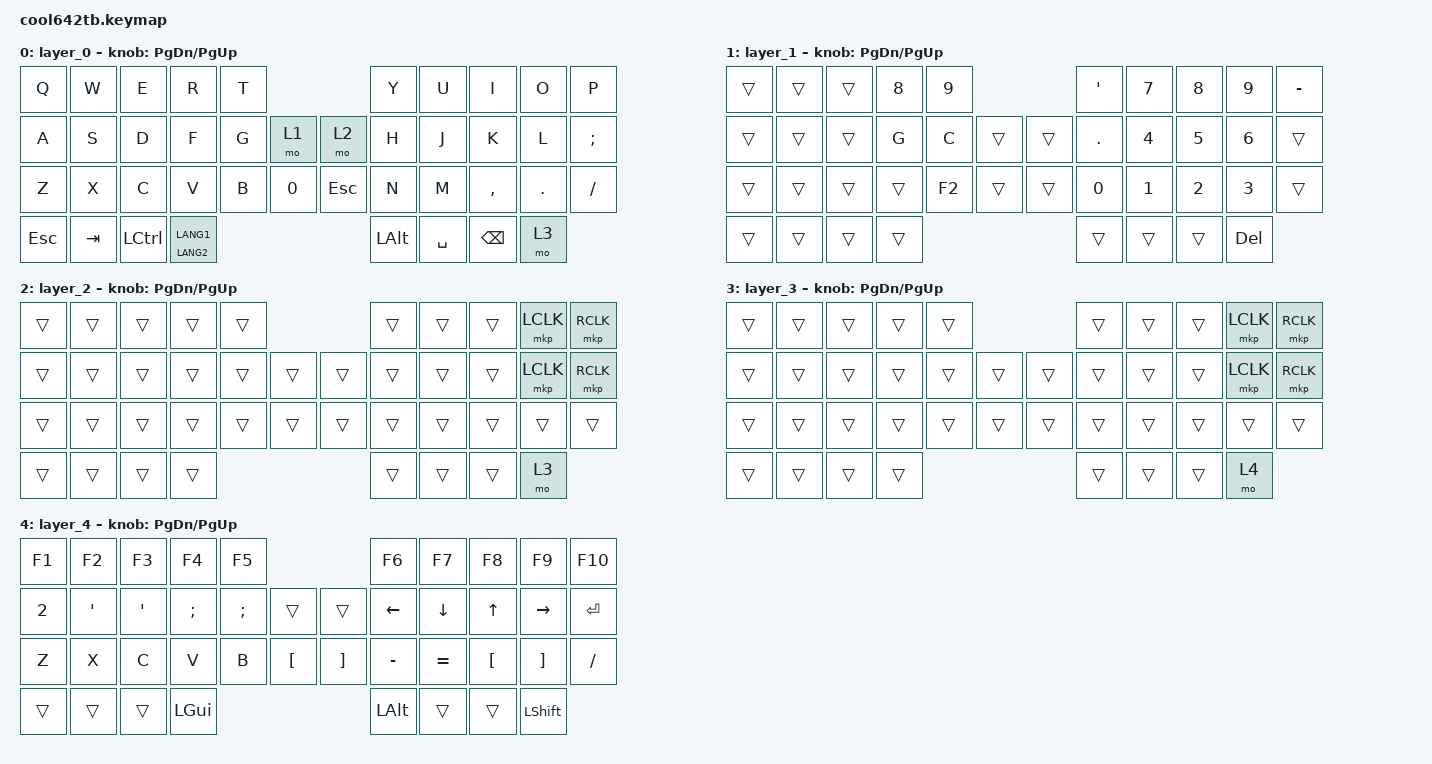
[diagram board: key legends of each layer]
#include <behaviors.dtsi>
#include <dt-bindings/zmk/bt.h>
#include <dt-bindings/zmk/keys.h>
#include <dt-bindings/zmk/pointing.h>

/ {
    keymap {
        compatible = "zmk,keymap";

        layer_0 {
            bindings = <
&kp Q       &kp W       &kp E             &kp R         &kp T                                                      &kp Y          &kp U  &kp I      &kp O       &kp P
&kp A       &kp S       &kp D             &kp F         &kp G         &mo 1                 &mo 2                  &kp H          &kp J  &kp K      &kp L       &kp SEMI
&kp Z       &kp X       &kp C             &kp V         &kp B         &kp N0                &kp ESCAPE             &kp N          &kp M  &kp COMMA  &kp PERIOD  &kp SLASH
&kp ESCAPE  &kp TAB     &kp LEFT_CONTROL  &mt LANG2 LANG1  &kp LEFT_ALT  &kp SPACE             &kp BACKSPACE                                            &mo 3
            >;
sensor-bindings = <&inc_dec_kp PG_DN PG_UP>;
        };

        layer_1 {
            bindings = <
&trans      &trans      &trans            &kp N8        &kp N9                                                   &kp SQT        &kp N7 &kp N8     &kp N9      &kp MINUS
&trans      &trans      &trans            &kp G         &kp C         &trans                &trans                &kp PERIOD     &kp N4 &kp N5     &kp N6      &trans
&trans      &trans      &trans            &trans        &kp F2        &trans                &trans                &kp N0         &kp N1 &kp N2     &kp N3      &trans
&trans      &trans      &trans            &trans        &trans        &trans                &trans                                                   &kp DEL
            >;
sensor-bindings = <&inc_dec_kp PG_DN PG_UP>;
        };

        layer_2 {
            bindings = <
&trans      &trans      &trans            &trans        &trans                                                  &trans         &trans &trans     &mkp LCLK   &mkp RCLK
&trans      &trans      &trans            &trans        &trans        &trans                &trans                &trans         &trans &trans     &mkp LCLK   &mkp RCLK
&trans      &trans      &trans            &trans        &trans        &trans                &trans                &trans         &trans &trans     &trans      &trans
&trans      &trans      &trans            &trans        &trans        &trans                &trans                                                   &mo 3
            >;
sensor-bindings = <&inc_dec_kp PG_DN PG_UP>;
        };

layer_3 {
    bindings = <
&trans      &trans      &trans            &trans        &trans                                                  &trans         &trans &trans     &mkp LCLK   &mkp RCLK
&trans      &trans      &trans            &trans        &trans        &trans                &trans                &trans         &trans &trans     &mkp LCLK   &mkp RCLK
&trans      &trans      &trans            &trans        &trans        &trans                &trans                &trans         &trans &trans     &trans      &trans
&trans      &trans      &trans            &trans        &trans        &trans                &trans                                                   &mo 4
            >;
sensor-bindings = <&inc_dec_kp PG_DN PG_UP>;
};

        layer_4 {
            bindings = <
&kp F1      &kp F2      &kp F3            &kp F4        &kp F5                                                   &kp F6         &kp F7 &kp F8     &kp F9      &kp F10
&kp N2      &kp SQT     &kp SQT           &kp SEMI      &kp SEMI      &trans                &trans                &kp LEFT       &kp DOWN_ARROW &kp UP_ARROW &kp RIGHT &kp ENTER
&kp Z       &kp X       &kp C             &kp V         &kp B         &kp LEFT_BRACKET     &kp RIGHT_BRACKET     &kp MINUS      &kp EQUAL &kp LEFT_BRACKET &kp RIGHT_BRACKET &kp SLASH
&trans      &trans      &trans            &kp LEFT_GUI  &kp LEFT_ALT  &trans                &trans                                                   &kp LEFT_SHIFT
            >;
sensor-bindings = <&inc_dec_kp PG_DN PG_UP>;
        };
    };
};
